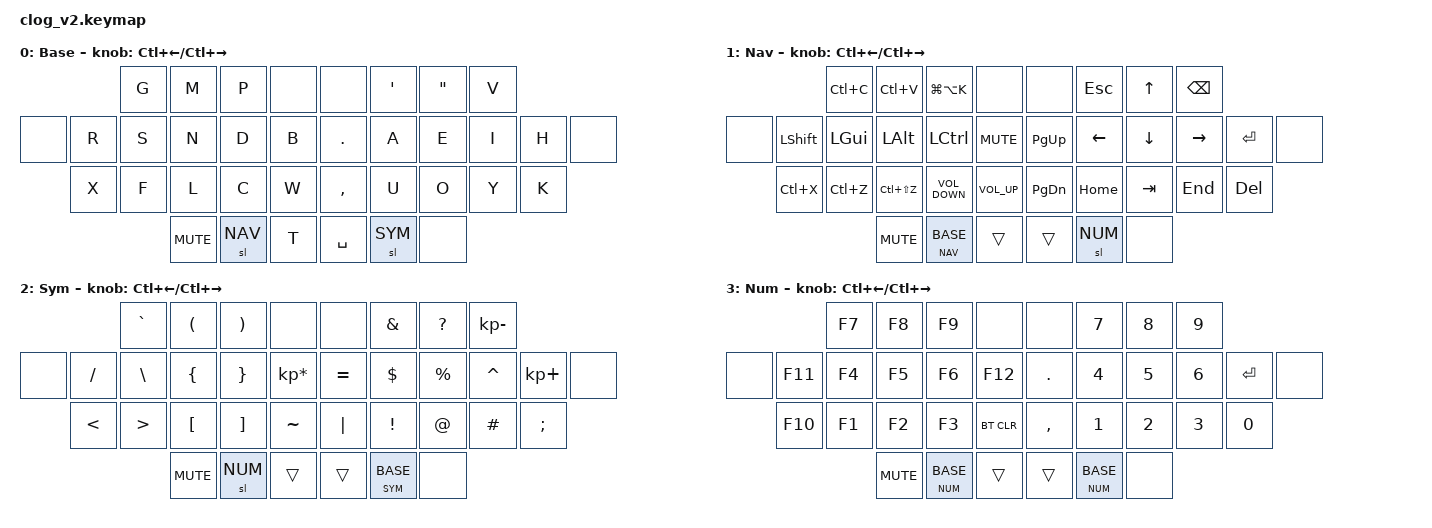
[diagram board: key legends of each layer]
#include <behaviors.dtsi>
#include <dt-bindings/zmk/keys.h>
#include <dt-bindings/zmk/bt.h>
#include <dt-bindings/zmk/outputs.h>

#define U_PST &kp LC(V)
#define U_CPY &kp LC(C)
#define U_CUT &kp LC(X)
#define U_UND &kp LC(Z)
#define U_RDO &kp LC(LS(Z))
#define U_MIC &kp LG(LA(K))

#define BASE 0
#define NAV 1
#define SYM 2
#define NUM 3

#define LOC_G 0
#define LOC_M (LOC_G+1)
#define LOC_P (LOC_G+2)

#define LOC_SQT 5
#define LOC_DQT (LOC_SQT+1)
#define LOC_V (LOC_SQT+2)

#define LOC_X 20
#define LOC_F (LOC_X+1)
#define LOC_L (LOC_X+2)
#define LOC_C (LOC_X+3)

#define LOC_U 26
#define LOC_O (LOC_U+1)
#define LOC_Y (LOC_U+2)
#define LOC_K (LOC_U+3)

#define LOC_NAV 31
#define LOC_SYM (LOC_NAV+3)


/*
                                                    [------for------]       Base         [------ion------]
                                                       [ing] [and]                          [tha] [the]
                                                   ╭─────┬─────┬─────╮                  ╭─────┬─────┬─────╮
                                                   │  G  │  M  │  P  │                  │  '  │  "  │  V  │
                                             ╭─────┽─────┼─────┼─────┼─────╮      ╭─────┼─────┼─────┼─────┼─────╮
                                             │  R  │  S  │  N  │  D  │  B  │      │  .  │  A  │  E  │  I  │  H  │
                                             ├─────┽─────┼─────┼─────┼─────┤      ├─────┼─────┼─────┼─────┼─────┤
                                             │  X  │  F [Z] L [J] C  │  W  │      │  ,  │  U [_] O [Q] Y  │  K  │
                                             ╰─────┴─────┼─────┼─────┼─────┤      ├─────┼─────┼─────┼─────┴─────╯
                                                [-shft-] │ mute│ nav │  T  │      │ spc │ sym │     │  [-shft-]
                                                         ╰─────┴─────┴─────╯      ╰─────┴─────┴─────╯
                                                                 │ │                      │ │
                                                                 │ │                      │ │
                                                                 │ │                      │ │
                                                                 │ │                      │ │
                                                                 │ │                      │ │
                        Nav / Media / Mod ◄──────────────────────╯ ╰──────────┬───────────╯ ╰─────────────────────────► Symbols
                                                                              │
      ╭─────┬─────┬─────╮                  ╭─────┬─────┬─────╮                │                ╭─────┬─────┬─────╮                  ╭─────┬─────┬─────╮
      │ cpy │ pst │ mic │                  │ esc │  ↑  │ bspc│                │                │  `  │  (  │  )  │                  │  &  │  ?  │  -  │
╭─────┼─────┼─────┼─────┼─────╮      ╭─────┼─────┼─────┼─────┼─────╮          │          ╭─────┼─────┼─────┼─────┼─────╮      ╭─────┼─────┼─────┼─────┼─────╮
│ cut │ gui │ alt │ ctrl│ mute│      │ pgup│  ←  │  ↓  │  →  │ ret │          │          │  /  │  \  │  {  │  }  │  *  │      │  =  │  $  │  %  │  ^  │  +  │
├─────┼─────┼─────┼─────┼─────┤      ├─────┼─────┼─────┼─────┼─────┤          │          ├─────┼─────┼─────┼─────┼─────┤      ├─────┼─────┼─────┼─────┼─────┤
│ sft │ und │ rdo │ vol-│ vol+│      │ pgdn│ home│ tab │ end │ del │          │          │  <  │  >  │  [  │  ]  │  ~  │      │  |  │  !  │  @  │  #  │  ;  │
╰─────┴─────┼─────┼─────┼─────┤      ├─────┼─────┼─────┼─────┴─────╯          │          ╰─────┴─────┼─────┼─────┼─────┤      ├─────┼─────┼─────┼─────┴─────╯
            │ mute│ nav │     │      │     │     │     │                      │                      │ mute│     │     │      │     │ sym │     │
            ╰─────┴─────┴─────╯      ╰─────┴─────┴─────╯                      │                      ╰─────┴─────┴─────╯      ╰─────┴─────┴─────╯
                                                                              │
                                                                              │
                                                                              ▼
                                                                           Numbers
                                                   ╭─────┬─────┬─────╮                  ╭─────┬─────┬─────╮
                                                   │  F7 │  F8 │  F9 │                  │  7  │  8  │  9  │
                                             ╭─────┼─────┼─────┼─────┼─────╮      ╭─────┼─────┼─────┼─────┼─────╮
                                             │ F11 │  F4 │  F5 │  F6 │ F12 │      │  .  │  4  │  5  │  6  │ ret │
                                             ├─────┼─────┼─────┼─────┼─────┤      ├─────┼─────┼─────┼─────┼─────┤
                                             │ F10 │  F1 │  F2 │  F3 │ bt_x│      │  ,  │  1  │  2  │  3  │  0  │
                                             ╰─────┴─────┼─────┼─────┼─────┤      ├─────┼─────┼─────┼─────┴─────╯
                                                         │ mute│ num │     │      │     │ num │     │
                                                         ╰─────┴─────┴─────╯      ╰─────┴─────┴─────╯
*/
/ {
        keymap {
                compatible = "zmk,keymap";
                BASE {
                            label = "Base";
                            bindings = <
/*                                         ╭───────────────────┬───────────────────┬───────────────────╮╌╌╌╌╌╌╌╌╌╌╌╌╌╌╌╌╌╌╌╮        ╭╌╌╌╌╌╌╌╌╌╌╌╌╌╌╌╌╌╌╌╭───────────────────┬───────────────────┬───────────────────╮                                         */
                                                  &kp G                &kp M                &kp P              &none                      &none               &kp SQT             &kp DQT               &kp V
/* ╭╌╌╌╌╌╌╌╌╌╌╌╌╌╌╌╌╌╌╌╭───────────────────┼───────────────────┼───────────────────┼───────────────────┼───────────────────╮        ╭───────────────────┼───────────────────┼───────────────────┼───────────────────┼───────────────────╮╌╌╌╌╌╌╌╌╌╌╌╌╌╌╌╌╌╌╌╮ */
          &none                &kp R              &kp S                &kp N                &kp D              &kp B                     &kp DOT               &kp A               &kp E                &kp I               &kp H               &none
/* ╰╌╌╌╌╌╌╌╌╌╌╌╌╌╌╌╌╌╌╌├───────────────────┼───────────────────┼───────────────────┼───────────────────┼───────────────────┤        ├───────────────────┼───────────────────┼───────────────────┼───────────────────┼───────────────────┤╌╌╌╌╌╌╌╌╌╌╌╌╌╌╌╌╌╌╌╯ */
                              &kp X  /*&kp LSHFT*/  &kp F  /*&kp Z*/   &kp L    /*&kp J*/   &kp C              &kp W                     &kp COMMA           &kp U     /*&kp _*/   &kp O    /*&kp Q*/  &kp Y   /*&kp LSHFT*/  &kp K
/*                     ╰───────────────────┴───────────────────┼───────────────────┼───────────────────┼───────────────────┤        ├───────────────────┼───────────────────┼───────────────────┼───────────────────┴───────────────────╯                     */
                                                                      &kp C_MUTE            &sl NAV            &kp T                     &kp SPACE            &sl SYM              &none
/*                                                             ╰───────────────────┴───────────────────┴───────────────────╯        ╰───────────────────┴───────────────────┴───────────────────╯                                                             */
                             >;
                             sensor-bindings = <&inc_dec_kp LC(LEFT) LC(RIGHT)>;
                     };
                     NAV {
                             label = "Nav";
                             bindings = <
/*                                         ╭───────────────────┬───────────────────┬───────────────────╮╌╌╌╌╌╌╌╌╌╌╌╌╌╌╌╌╌╌╌╮        ╭╌╌╌╌╌╌╌╌╌╌╌╌╌╌╌╌╌╌╌┬───────────────────┬───────────────────┬───────────────────╮                                         */
                                                  U_CPY               U_PST                U_MIC              &none                         &none             &kp ESC             &kp UP               &kp BSPC
/* ╭╌╌╌╌╌╌╌╌╌╌╌╌╌╌╌╌╌╌╌╭───────────────────┼───────────────────┼───────────────────┼───────────────────┼───────────────────╮        ╭───────────────────┼───────────────────┼───────────────────┼───────────────────┼───────────────────╮╌╌╌╌╌╌╌╌╌╌╌╌╌╌╌╌╌╌╌╮ */
          &none              &kp LSHFT          &kp LGUI              &kp LALT           &kp LCTRL          &kp C_MUTE                    &kp PG_UP           &kp LEFT            &kp DOWN             &kp RIGHT           &kp ENTER             &none
/* ╰╌╌╌╌╌╌╌╌╌╌╌╌╌╌╌╌╌╌╌├───────────────────┼───────────────────┼───────────────────┼───────────────────┼───────────────────┤        ├───────────────────┼───────────────────┼───────────────────┼───────────────────┼───────────────────┤╌╌╌╌╌╌╌╌╌╌╌╌╌╌╌╌╌╌╌╯ */
                               U_CUT              U_UND               U_RDO          &kp C_VOLUME_DOWN   &kp C_VOLUME_UP                  &kp PG_DN           &kp HOME            &kp TAB              &kp END             &kp DEL
/*                     ╰───────────────────┴───────────────────┼───────────────────┼───────────────────┼───────────────────┤        ├───────────────────┼───────────────────┼───────────────────┼───────────────────┴───────────────────╯                     */
                                                                     &kp C_MUTE       &mo_to NAV BASE         &trans                       &trans             &sl NUM             &none
/*                                                             ╰───────────────────┴───────────────────┴───────────────────╯        ╰───────────────────┴───────────────────┴───────────────────╯                                                             */
                             >;
			        sensor-bindings = <&inc_dec_kp LC(LEFT) LC(RIGHT)>;
                     };
                     SYM {
                             label = "Sym";
                             bindings = <
/*                                         ╭───────────────────┬───────────────────┬───────────────────╮╌╌╌╌╌╌╌╌╌╌╌╌╌╌╌╌╌╌╌╮        ╭╌╌╌╌╌╌╌╌╌╌╌╌╌╌╌╌╌╌╌╭───────────────────┬───────────────────┬───────────────────╮                                         */
                                                 &kp GRAVE           &kp LPAR            &kp RPAR             &none                        &none           &kp AMPERSAND       &kp QUESTION         &kp KP_MINUS
/* ╭╌╌╌╌╌╌╌╌╌╌╌╌╌╌╌╌╌╌╌╭───────────────────┼───────────────────┼───────────────────┼───────────────────┼───────────────────╮        ╭───────────────────┼───────────────────┼───────────────────┼───────────────────┼───────────────────╮╌╌╌╌╌╌╌╌╌╌╌╌╌╌╌╌╌╌╌╮ */
          &none              &kp SLASH         &kp BACKSLASH         &kp LBRC            &kp RBRC        &kp KP_ASTERISK                  &kp EQUAL         &kp DOLLAR           &kp PERCENT         &kp CARET           &kp KP_PLUS          &none
/* ╰╌╌╌╌╌╌╌╌╌╌╌╌╌╌╌╌╌╌╌├───────────────────┼───────────────────┼───────────────────┼───────────────────┼───────────────────┤        ├───────────────────┼───────────────────┼───────────────────┼───────────────────┼───────────────────┤╌╌╌╌╌╌╌╌╌╌╌╌╌╌╌╌╌╌╌╯ */
                               &kp LT             &kp GT             &kp LBKT            &kp RBKT           &kp TILDE                     &kp PIPE         &kp EXCLAMATION       &kp AT_SIGN          &kp HASH            &kp SEMI
/*                     ╰───────────────────┴───────────────────┼───────────────────┼───────────────────┼───────────────────┤        ├───────────────────┼───────────────────┼───────────────────┼───────────────────┴───────────────────╯                     */
                                                                    &kp C_MUTE           &sl NUM              &trans                       &trans          &mo_to SYM BASE          &none
/*                                                             ╰───────────────────┴───────────────────┴───────────────────╯        ╰───────────────────┴───────────────────┴───────────────────╯                                                             */
                             >;
			        sensor-bindings = <&inc_dec_kp LC(LEFT) LC(RIGHT)>;
                     };
                     NUM {
                             label = "Num";
                             bindings = <
/*                                         ╭───────────────────┬───────────────────┬───────────────────╮╌╌╌╌╌╌╌╌╌╌╌╌╌╌╌╌╌╌╌╮        ╭╌╌╌╌╌╌╌╌╌╌╌╌╌╌╌╌╌╌╌╭───────────────────┬───────────────────┬───────────────────╮                                         */
                                                  &kp F7              &kp F8               &kp F9              &none                        &none            &kp NUM_7            &kp NUM_8            &kp NUM_9
/* ╭╌╌╌╌╌╌╌╌╌╌╌╌╌╌╌╌╌╌╌╭───────────────────┼───────────────────┼───────────────────┼───────────────────┼───────────────────╮        ╭───────────────────┼───────────────────┼───────────────────┼───────────────────┼───────────────────╮╌╌╌╌╌╌╌╌╌╌╌╌╌╌╌╌╌╌╌╮ */
          &none               &kp F11             &kp F4              &kp F5               &kp F6              &kp F12                     &kp DOT           &kp NUM_4            &kp NUM_5            &kp NUM_6          &kp ENTER             &none
/* ╰╌╌╌╌╌╌╌╌╌╌╌╌╌╌╌╌╌╌╌├───────────────────┼───────────────────┼───────────────────┼───────────────────┼───────────────────┤        ├───────────────────┼───────────────────┼───────────────────┼───────────────────┼───────────────────┤╌╌╌╌╌╌╌╌╌╌╌╌╌╌╌╌╌╌╌╯ */
                              &kp F10             &kp F1              &kp F2               &kp F3            &bt BT_CLR                   &kp COMMA          &kp NUM_1            &kp NUM_2            &kp NUM_3          &kp NUM_0
/*                     ╰───────────────────┴───────────────────┼───────────────────┼───────────────────┼───────────────────┤        ├───────────────────┼───────────────────┼───────────────────┼───────────────────┴───────────────────╯                     */
                                                                    &kp C_MUTE        &mo_to NUM BASE         &trans                        &trans         &mo_to NUM BASE          &none
/*                                                             ╰───────────────────┴───────────────────┴───────────────────╯        ╰───────────────────┴───────────────────┴───────────────────╯                                                             */
                             >;
			        sensor-bindings = <&inc_dec_kp LC(LEFT) LC(RIGHT)>;
                     };
      };
      behaviors {
         mo_to: mo_to {
              compatible = "zmk,behavior-hold-tap";
              label = "HOLD TO";
              #binding-cells = <2>;
              tapping_term_ms = <150>;
              flavor = "hold-preferred";
              bindings = <&mo>, <&to>;
         };
      };
      macros {
        ZMK_MACRO(macro_qu,
            wait-ms = <30>;
            tap-ms = <40>;
            bindings = <&kp Q &kp U>;
        )
        ZMK_MACRO(macro_for,
            wait-ms = <30>;
            tap-ms = <40>;
            bindings = <&kp F &kp O &kp R>;
        )
        ZMK_MACRO(macro_ion,
            wait-ms = <30>;
            tap-ms = <40>;
            bindings = <&kp I &kp O &kp N>;
        )
        ZMK_MACRO(macro_ing,
            wait-ms = <30>;
            tap-ms = <40>;
            bindings = <&kp I &kp N &kp G>;
        )
        ZMK_MACRO(macro_and,
            wait-ms = <30>;
            tap-ms = <40>;
            bindings = <&kp A &kp N &kp D>;
        )
        ZMK_MACRO(macro_tha,
            wait-ms = <30>;
            tap-ms = <40>;
            bindings = <&kp T &kp H &kp A>;
        )
        ZMK_MACRO(macro_the,
            wait-ms = <30>;
            tap-ms = <40>;
            bindings = <&kp T &kp H &kp E>;
        )
      };
      combos {
        compatible = "zmk,combos";
        combo_lshift {
               timeout-ms = <60>;
               key-positions = <LOC_X LOC_F>;
               bindings = <&kp LSHFT>;
               layers = <0>;
        };
        combo_z {
               timeout-ms = <60>;
               key-positions = <LOC_F LOC_L>;
               bindings = <&kp Z>;
               layers = <0>;
        };
        combo_j {
               timeout-ms = <60>;
               key-positions = <LOC_L LOC_C>;
               bindings = <&kp J>;
               layers = <0>;
        };
        combo__ {
               timeout-ms = <45>;
               key-positions = <LOC_U LOC_O>;
               bindings = <&kp UNDERSCORE>;
               layers = <0>;
        };
        combo_q {
               timeout-ms = <45>;
               key-positions = <LOC_O LOC_Y>;
               bindings = <&kp Q>;
               layers = <0>;
        };
        combo_qu {
               timeout-ms = <75>;
               key-positions = <LOC_U LOC_O LOC_Y>;
               bindings = <&macro_qu>;
               layers = <0>;
        };
        combo_for {
               timeout-ms = <75>;
               key-positions = <LOC_G LOC_M LOC_P>;
               bindings = <&macro_for>;
               layers = <0>;
        };
        combo_ion {
               timeout-ms = <75>;
               key-positions = <LOC_SQT LOC_DQT LOC_V>;
               bindings = <&macro_ion>;
               layers = <0>;
        };
        combo_ing {
               timeout-ms = <45>;
               key-positions = <LOC_G LOC_M>;
               bindings = <&macro_ing>;
               layers = <0>;
        };
        combo_and {
               timeout-ms = <45>;
               key-positions = <LOC_M LOC_P>;
               bindings = <&macro_and>;
               layers = <0>;
        };
        combo_tha {
               timeout-ms = <45>;
               key-positions = <LOC_SQT LOC_DQT>;
               bindings = <&macro_tha>;
               layers = <0>;
        };
        combo_the {
               timeout-ms = <45>;
               key-positions = <LOC_DQT LOC_V>;
               bindings = <&macro_the>;
               layers = <0>;
        };
        combo_rshift {
               timeout-ms = <45>;
               key-positions = <LOC_Y LOC_K>;
               bindings = <&kp LSHFT>;
               layers = <0>;
        };
        combo_num {
               timeout-ms = <45>;
               key-positions = <LOC_NAV LOC_SYM>;
               bindings = <&sl NUM>;
               layers = <0>;
        };
    };
};
